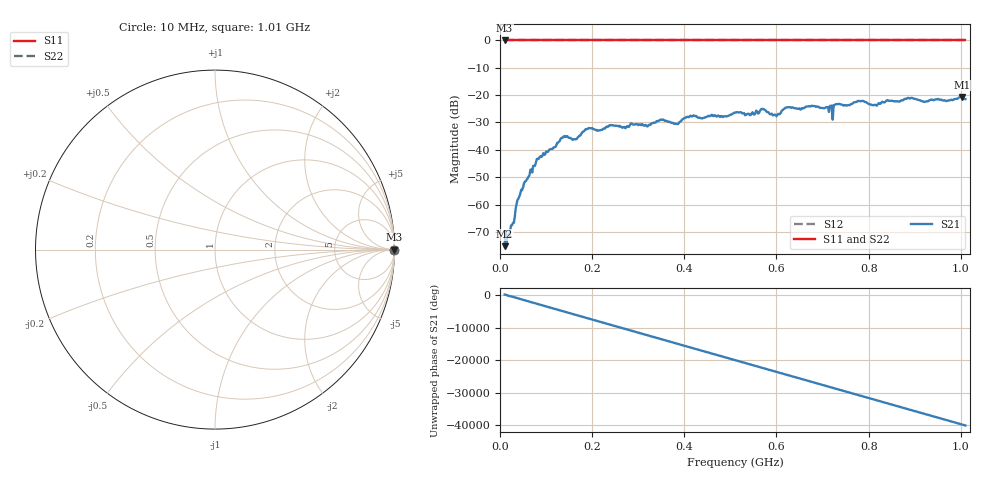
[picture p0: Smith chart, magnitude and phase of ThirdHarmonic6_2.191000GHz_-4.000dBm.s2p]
! 8/17/2025 2:07:13 AM
! C:\ANRITSUVNA\TEMP\TEMP.S2P
! CHANNEL.1
! TR.MEASUREMENT
! RAW.DATA
! RF.CORRECTION.OFF
! AVERAGING.OFF
! IF.BANDWIDTH: 5KHZ
! SWEEPTYPE:  FREQ.SWEEP(Linear)
! Reference Plane Port Info
! PORT:  PORT1  PORT2
! DISTANCE:  0  m  0  m
! TIME:  0  s  0  s
! PHASE.OFFSET:  0  deg.  0  deg.
! LOSS:  0  dB  0  dB
! REF.LOSS:  0  dB  0  dB
! REF.FREQ:  0  Hz  0  Hz
! Power Info
! POWER:  -20  dBm  -20  dBm
! EFF.POWER:  -20  dBm  -20  dBm
! SOURCE.ATTEN:  0  dB  0  dB
! TEST.ATTEN:  0  dB  0  dB
# GHZ S RI R 50.0
! FREQ.GHZ  S11RE  S11IM  S21RE  S21IM  S12RE  S12IM  S22RE  S22IM
!; PortSelection: Port_12
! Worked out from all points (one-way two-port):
!   501 points, 10 MHz to 1.01 GHz, reference 50 ohm
!   highest |S21| = -20.65 dB at 1.002 GHz (marker M1); lowest = -75.2 dB at 10 MHz (marker M2)
!   lowest |S11| = 0.0 dB at 10 MHz (marker M3)
!   |S11| at or under -10 dB: nowhere
!   |S22| runs from 0.0 to 0.0 dB; largest |S21 - S12| = 1.1
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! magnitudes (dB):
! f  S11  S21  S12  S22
! 10 MHz  0.0  -75.2  0.0  0.0
! 28 MHz  0.0  -66.8  0.0  0.0
! 42 MHz  0.0  -57.0  0.0  0.0
! 82 MHz  0.0  -43.3  0.0  0.0
! 136 MHz  0.0  -35.6  0.0  0.0
! 162 MHz  0.0  -36.1  0.0  0.0
! 178 MHz  0.0  -33.7  0.0  0.0
! 344 MHz  0.0  -29.5  0.0  0.0
! 382 MHz  0.0  -30.4  0.0  0.0
! 416 MHz  0.0  -27.8  0.0  0.0
! 510 MHz  0.0  -26.4  0.0  0.0
! 570 MHz  0.0  -25.0  0.0  0.0
! 596 MHz  0.0  -27.1  0.0  0.0
! 624 MHz  0.0  -24.4  0.0  0.0
! 678 MHz  0.0  -24.0  0.0  0.0
! 718 MHz  0.0  -24.0  0.0  0.0
! 732 MHz  0.0  -23.3  0.0  0.0
! 784 MHz  0.0  -22.2  0.0  0.0
! 814 MHz  0.0  -23.5  0.0  0.0
! 844 MHz  0.0  -22.1  0.0  0.0
! 1.002 GHz  0.0  -20.7  0.0  0.0
! 1.01 GHz  0.0  -21.4  0.0  0.0
